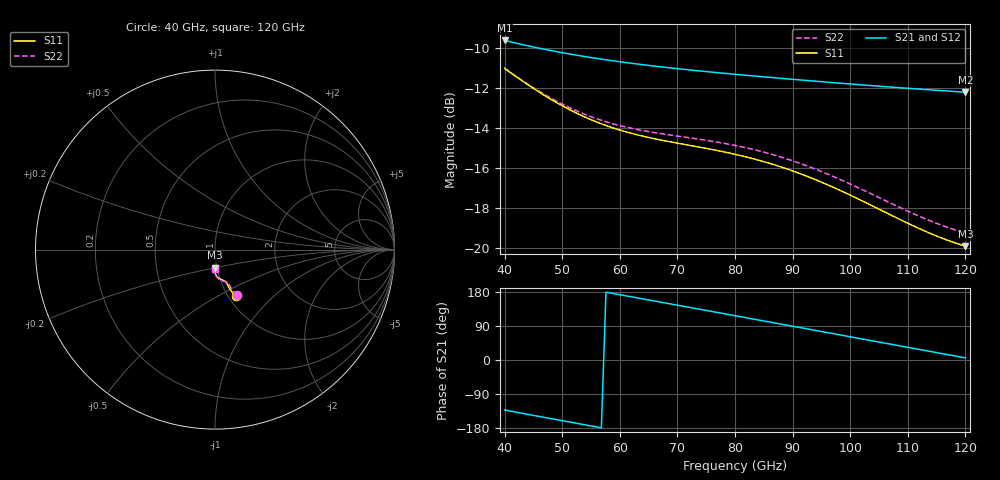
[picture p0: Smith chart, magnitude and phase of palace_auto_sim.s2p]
#  GHZ S DB R 50
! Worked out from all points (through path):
!   101 points, 40 GHz to 120 GHz, reference 50 ohm
!   highest |S21| = -9.63 dB at 40 GHz (marker M1); lowest = -12.2 dB at 120 GHz (marker M2)
!   group delay of S21, straight-line fit = 7.71 ps
!   lowest |S11| = -19.9 dB at 120 GHz (marker M3), VSWR 1.22, Z = 49.1 - j10 ohm
!   |S11| at or under -10 dB: start of sweep to end of sweep
!   |S22| runs from -19.2 to -11.0 dB; largest |S21 - S12| = 4.3e-15
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40  -11.03 -66.0  -9.63 -132.0  -9.63 -132.0  -11.03 -64.4
43.2  -11.68 -67.7  -9.85 -141.1  -9.85 -141.1  -11.66 -65.9
46.4  -12.28 -68.9  -10.04 -150.1  -10.04 -150.1  -12.24 -66.9
49.6  -12.83 -69.6  -10.22 -159.0  -10.22 -159.0  -12.75 -67.5
53.6  -13.41 -70.2  -10.42 -170.1  -10.42 -170.1  -13.28 -67.9
56.8  -13.80 -70.5  -10.57 -178.9  -10.57 -178.9  -13.62 -68.1
60  -14.11 -70.8  -10.70 172.3  -10.70 172.3  -13.89 -68.4
63.2  -14.36 -71.2  -10.82 163.4  -10.82 163.4  -14.09 -68.8
67.2  -14.61 -72.1  -10.95 152.4  -10.95 152.4  -14.29 -69.8
73.6  -14.95 -74.4  -11.15 134.7  -11.15 134.7  -14.56 -72.4
76.8  -15.13 -75.9  -11.24 125.8  -11.24 125.8  -14.71 -74.1
80  -15.32 -77.7  -11.32 116.9  -11.32 116.9  -14.88 -76.0
83.2  -15.55 -79.6  -11.41 108.0  -11.41 108.0  -15.08 -78.1
86.4  -15.81 -81.6  -11.49 99.1  -11.49 99.1  -15.32 -80.2
89.6  -16.11 -83.6  -11.56 90.2  -11.56 90.2  -15.61 -82.4
93.6  -16.54 -85.9  -11.66 79.1  -11.66 79.1  -16.02 -84.9
96.8  -16.94 -87.6  -11.73 70.2  -11.73 70.2  -16.40 -86.7
100  -17.36 -89.0  -11.81 61.3  -11.81 61.3  -16.80 -88.3
107.2  -18.37 -90.9  -11.96 41.2  -11.96 41.2  -17.78 -90.5
113.6  -19.24 -90.8  -12.09 23.5  -12.09 23.5  -18.61 -90.7
116.8  -19.60 -90.2  -12.16 14.6  -12.16 14.6  -18.96 -90.3
120  -19.91 -89.4  -12.22 5.7  -12.22 5.7  -19.25 -89.7
